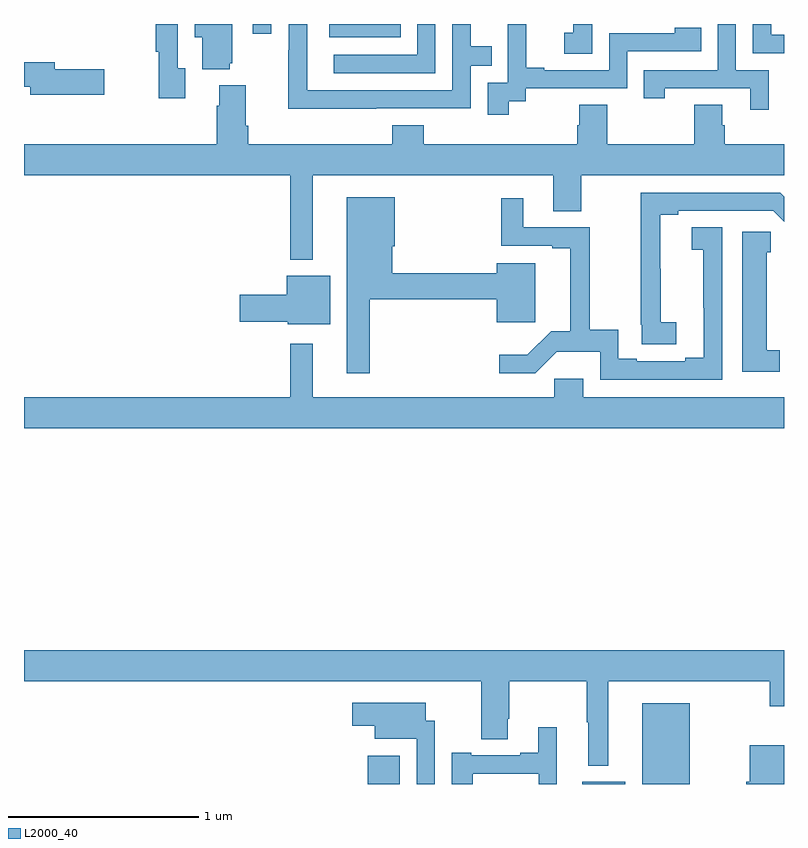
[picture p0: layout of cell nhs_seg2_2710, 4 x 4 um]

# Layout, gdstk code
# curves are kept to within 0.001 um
import gdstk
lib = gdstk.Library(unit=1e-6, precision=1e-09)
def R(c, l, rs):  # rectangles x0, y0, x1, y1
    for r in rs: c.add(gdstk.rectangle(r[:2], r[2:], *l))
def P(c, l, *ps):  # polygons
    for p in ps: c.add(gdstk.Polygon(p, *l))
L2000_40 = (2000, 40)

nhs_seg2_2710 = lib.new_cell('nhs_seg2_2710')
R(nhs_seg2_2710, L2000_40, [(254.81,609.8,254.977,609.949), (255.938,609.8,256.165,609.811), (256.253,609.8,256.504,610.225), (254.606,613.73,254.984,613.8), (254.205,613.749,254.301,613.8)])
P(nhs_seg2_2710, L2000_40, [(254.855,613.356),(255.351,613.356),(255.351,613.581),(255.461,613.581),(255.461,613.682),(255.351,613.682),(255.351,613.8),(255.255,613.8),(255.255,613.452),(254.49,613.452),(254.49,613.8),(254.394,613.8),(254.394,613.661),(254.392,613.661),(254.392,613.355),(254.855,613.355)],
  [(256.92,613.557),(256.746,613.557),(256.746,613.8),(256.65,613.8),(256.65,613.557),(256.261,613.557),(256.261,613.41),(256.372,613.41),(256.372,613.461),(256.823,613.461),(256.823,613.35),(256.92,613.35)],
  [(255.99,613.8),(255.892,613.8),(255.892,613.753),(255.843,613.753),(255.843,613.644),(255.99,613.644)],
  [(255.55,613.393),(255.642,613.393),(255.642,613.461),(256.176,613.461),(256.176,613.656),(256.565,613.656),(256.565,613.779),(256.425,613.779),(256.425,613.752),(256.08,613.752),(256.08,613.557),(255.739,613.557),(255.739,613.57),(255.644,613.57),(255.644,613.8),(255.545,613.8),(255.545,613.721),(255.546,613.721),(255.546,613.491),(255.441,613.491),(255.441,613.323),(255.55,613.323)],
  [(253.849,613.566),(253.809,613.566),(253.809,613.8),(253.693,613.8),(253.693,613.654),(253.708,613.654),(253.708,613.41),(253.849,613.41)],
  [(255.165,613.8),(255.069,613.8),(255.069,613.638),(254.631,613.638),(254.631,613.542),(255.165,613.542)],
  [(254.084,613.593),(254.095,613.593),(254.095,613.8),(253.898,613.8),(253.898,613.73),(253.937,613.73),(253.937,613.562),(254.084,613.562)],
  [(257,613.743),(256.933,613.743),(256.933,613.8),(256.836,613.8),(256.836,613.647),(257,613.647)],
  [(253.423,613.562),(253.162,613.562),(253.162,613.598),(253,613.598),(253,613.47),(253.034,613.47),(253.034,613.427),(253.423,613.427)],
  [(254.521,613.004),(255.785,613.004),(255.785,612.814),(255.933,612.814),(255.933,613.004),(257,613.004),(257,613.168),(256.688,613.168),(256.688,613.266),(256.675,613.266),(256.675,613.376),(256.528,613.376),(256.528,613.168),(256.071,613.168),(256.071,613.376),(255.923,613.376),(255.923,613.266),(255.911,613.266),(255.911,613.168),(255.104,613.168),(255.104,613.267),(254.939,613.267),(254.939,613.168),(254.18,613.168),(254.18,613.264),(254.167,613.264),(254.167,613.477),(254.027,613.477),(254.027,613.37),(254.015,613.37),(254.015,613.168),(253,613.168),(253,613.004),(254.4,613.004),(254.4,612.56),(254.521,612.56)],
  [(256.432,612.23),(256.35,612.23),(256.348,612.796),(256.444,612.796),(256.444,612.816),(256.944,612.816),(257,612.76),(257,612.892),(256.98,612.912),(256.246,612.912),(256.246,612.217),(256.252,612.217),(256.252,612.115),(256.432,612.115)],
  [(254.821,612.352),(255.488,612.352),(255.488,612.231),(255.691,612.231),(255.691,612.541),(255.488,612.541),(255.488,612.488),(254.938,612.488),(254.938,612.63),(254.95,612.63),(254.95,612.889),(254.699,612.889),(254.699,611.961),(254.821,611.961)],
  [(256.674,612.731),(256.515,612.731),(256.515,612.611),(256.576,612.611),(256.577,612.044),(256.481,612.044),(256.481,612.024),(256.225,612.024),(256.225,612.038),(256.128,612.038),(256.128,612.191),(255.977,612.191),(255.977,612.729),(255.628,612.729),(255.628,612.883),(255.511,612.883),(255.511,612.633),(255.779,612.633),(255.779,612.621),(255.875,612.621),(255.875,612.184),(255.775,612.184),(255.649,612.058),(255.501,612.058),(255.501,611.961),(255.69,611.961),(255.803,612.074),(256.032,612.074),(256.032,611.928),(256.674,611.928)],
  [(256.978,612.084),(256.909,612.084),(256.909,612.6),(256.931,612.6),(256.931,612.706),(256.781,612.706),(256.781,611.969),(256.978,611.969)],
  [(254.611,612.475),(254.384,612.475),(254.384,612.374),(254.136,612.374),(254.136,612.232),(254.388,612.232),(254.388,612.221),(254.611,612.221)],
  [(257,611.836),(255.943,611.836),(255.943,611.934),(255.792,611.934),(255.792,611.836),(254.521,611.836),(254.521,612.118),(254.4,612.118),(254.4,611.836),(253,611.836),(253,611.672),(257,611.672)],
  [(256.075,610.34),(256.924,610.34),(256.924,610.209),(257,610.209),(257,610.504),(253,610.504),(253,610.34),(255.407,610.34),(255.407,610.036),(255.547,610.036),(255.547,610.144),(255.555,610.144),(255.555,610.34),(255.961,610.34),(255.961,610.124),(255.971,610.124),(255.971,609.896),(256.075,609.896)],
  [(255.162,610.134),(255.115,610.134),(255.115,610.228),(254.727,610.228),(254.727,610.106),(254.846,610.106),(254.846,610.037),(255.066,610.037),(255.066,609.8),(255.162,609.8)],
  [(255.361,609.855),(255.708,609.855),(255.708,609.8),(255.805,609.8),(255.805,610.099),(255.707,610.099),(255.707,609.964),(255.611,609.964),(255.611,609.951),(255.355,609.951),(255.355,609.964),(255.251,609.964),(255.251,609.8),(255.361,609.8)],
  [(257,610.003),(256.82,610.003),(256.82,609.813),(256.801,609.813),(256.801,609.8),(257,609.8)])

lib.write_gds('nhs_seg2_2710.gds')
